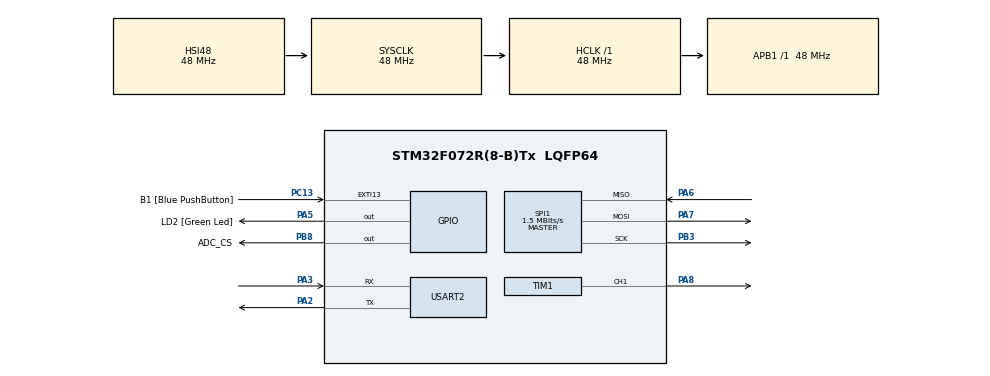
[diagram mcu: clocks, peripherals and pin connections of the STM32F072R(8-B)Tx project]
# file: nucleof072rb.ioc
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Mcu.Family=STM32F0
Mcu.Name=STM32F072R(8-B)Tx
Mcu.Package=LQFP64
PA13.GPIO_Label=TMS
PA13.Mode=Serial_Wire
PA13.Signal=SYS_SWDIO
PA14.GPIO_Label=TCK
PA14.Mode=Serial_Wire
PA14.Signal=SYS_SWCLK
PA2.GPIO_Mode=GPIO_MODE_AF_PP
PA2.GPIO_ModeDefaultPP=GPIO_MODE_AF_PP
PA2.GPIO_PuPd=GPIO_NOPULL
PA2.GPIO_Speed=GPIO_SPEED_FREQ_HIGH
PA2.Mode=Asynchronous
PA2.Signal=USART2_TX
PA3.GPIO_Mode=GPIO_MODE_AF_PP
PA3.GPIO_ModeDefaultPP=GPIO_MODE_AF_PP
PA3.GPIO_PuPd=GPIO_NOPULL
PA3.GPIO_Speed=GPIO_SPEED_FREQ_HIGH
PA3.Mode=Asynchronous
PA3.Signal=USART2_RX
PA5.GPIO_Label=LD2 [Green Led]
PA5.GPIO_Mode=GPIO_MODE_OUTPUT_PP
PA5.GPIO_PuPd=GPIO_NOPULL
PA5.GPIO_Speed=GPIO_SPEED_FREQ_LOW
PA5.Signal=GPIO_Output
PA6.Mode=Full_Duplex_Master
PA6.Signal=SPI1_MISO
PA7.Mode=Full_Duplex_Master
PA7.Signal=SPI1_MOSI
PA8.Signal=S_TIM1_CH1
PB3.Mode=Full_Duplex_Master
PB3.Signal=SPI1_SCK
PB8.GPIO_Label=ADC_CS
PB8.PinState=GPIO_PIN_SET
PB8.Signal=GPIO_Output
PC13.GPIO_Label=B1 [Blue PushButton]
PC13.GPIO_ModeDefaultEXTI=GPIO_MODE_IT_FALLING
PC13.Signal=GPXTI13
PC14-OSC32_IN.Mode=LSE-External-Oscillator
PC14-OSC32_IN.Signal=RCC_OSC32_IN
PC15-OSC32_OUT.Mode=LSE-External-Oscillator
PC15-OSC32_OUT.Signal=RCC_OSC32_OUT
PF0-OSC_IN.Mode=HSE-External-Clock-Source
PF0-OSC_IN.Signal=RCC_OSC_IN
PF1-OSC_OUT.Signal=RCC_OSC_OUT
ProjectManager.HeapSize=0x200
ProjectManager.StackSize=0x400
ProjectManager.TargetToolchain=STM32CubeIDE
RCC.AHBFreq_Value=48000000
RCC.APB1Freq_Value=48000000
RCC.APB1TimFreq_Value=48000000
RCC.FLatency-AdvancedSettings=FLASH_LATENCY_1
RCC.HCLKFreq_Value=48000000
RCC.PLLDivider=RCC_PREDIV_DIV2
RCC.PLLMUL=RCC_PLL_MUL12
RCC.PREFETCH_ENABLE-AdvancedSettings=1
RCC.SYSCLKFreq_VALUE=48000000
RCC.SYSCLKSource=RCC_SYSCLKSOURCE_HSI48
SH.S_TIM1_CH1.0=TIM1_CH1,PWM Generation1 CH1
SPI1.BaudRatePrescaler=SPI_BAUDRATEPRESCALER_32
SPI1.CalculateBaudRate=1.5 MBits/s
SPI1.DataSize=SPI_DATASIZE_8BIT
SPI1.Direction=SPI_DIRECTION_2LINES
SPI1.Mode=SPI_MODE_MASTER
SPI1.VirtualType=VM_MASTER
TIM1.Channel-PWM\ Generation1\ CH1=TIM_CHANNEL_1
TIM1.Period=63999
TIM1.Prescaler=14
USART2.VirtualMode-Asynchronous=VM_ASYNC
VP_TIM1_VS_ClockSourceINT.Mode=Internal
board=NUCLEO-F072RB

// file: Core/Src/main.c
/* USER CODE BEGIN Header */
/**
  ******************************************************************************
  * @file           : main.c
  * @brief          : Main program body
  ******************************************************************************
  * @attention
  *
  * <h2><center>&copy; Copyright (c) 2021 STMicroelectronics.
  * All rights reserved.</center></h2>
  *
  * This software component is licensed by ST under BSD 3-Clause license,
  * the "License"; You may not use this file except in compliance with the
  * License. You may obtain a copy of the License at:
  *                        opensource.org/licenses/BSD-3-Clause
  *
  ******************************************************************************
  */
/* USER CODE END Header */
#include "main.h"
#include "spi.h"
#include "tim.h"
#include "usart.h"
#include "gpio.h"

/* USER CODE BEGIN PD */
#define PWM_MIN_COUNTS      3200U // 1 ms pulse (0.3125 us per tick)
#define PWM_MAX_COUNTS      6400U // 2 ms pulse
#define ADC_MAX             1023U // largest 10-bit value
#define ADC_CHANNEL         0U    // pot wiper is on MCP3004 CH0

#define ADC_START_BIT       0x01U // byte 1: start bit (MCP3004 datasheet fig 6-1)
#define ADC_SINGLE_ENDED    0x80U // byte 2: bit 7: measure vs ground, not differential
#define ADC_CHANNEL_SHIFT   4U    // byte 2: channel select starts at bit 4 (D2..D0)
#define ADC_RESULT_MSB_MASK 0x03U // byte 2 of reply: only B9..B8 are valid
#define ADC_FRAME_BYTES     3U    // one full conversion = 3 bytes over SPI
/* USER CODE END PD */

void SystemClock_Config(void);

int main(void)
{

  /* MCU Configuration--------------------------------------------------------*/

  /* Reset of all peripherals, Initializes the Flash interface and the Systick. */
  HAL_Init();

  /* Configure the system clock */
  SystemClock_Config();

  /* Initialize all configured peripherals */
  MX_GPIO_Init();
  MX_USART2_UART_Init();
  MX_SPI1_Init();
  MX_TIM1_Init();
  /* USER CODE BEGIN 2 */

  if (HAL_TIM_PWM_Start(&htim1, TIM_CHANNEL_1) != HAL_OK)
  {
	  Error_Handler();
  }

  /* USER CODE END 2 */

  /* Infinite loop */
  while (1)
  {

	  /* USER CODE BEGIN 3 */
	  uint8_t tx[ADC_FRAME_BYTES] = {ADC_START_BIT,
			  ADC_SINGLE_ENDED | (ADC_CHANNEL << ADC_CHANNEL_SHIFT),
			  0x00};  // filler byte that just clocks out the result
	  uint8_t rx[ADC_FRAME_BYTES] = {0};

	  HAL_GPIO_WritePin(ADC_CS_GPIO_Port, ADC_CS_Pin, GPIO_PIN_RESET);
	  HAL_StatusTypeDef status = HAL_SPI_TransmitReceive(&hspi1, tx, rx, ADC_FRAME_BYTES, 10);
	  HAL_GPIO_WritePin(ADC_CS_GPIO_Port, ADC_CS_Pin, GPIO_PIN_SET);

	  if (status == HAL_OK)
	  {
		  uint16_t adc = ((rx[1] & ADC_RESULT_MSB_MASK) << 8) | rx[2];
		  uint32_t pulse = PWM_MIN_COUNTS + ((uint32_t)adc * (PWM_MAX_COUNTS - PWM_MIN_COUNTS)) / ADC_MAX;
		  __HAL_TIM_SET_COMPARE(&htim1, TIM_CHANNEL_1, pulse);
	  }

	  HAL_Delay(10);
  }
  /* USER CODE END 3 */
}

void SystemClock_Config(void)
{
  RCC_OscInitTypeDef RCC_OscInitStruct = {0};
  RCC_ClkInitTypeDef RCC_ClkInitStruct = {0};
  RCC_PeriphCLKInitTypeDef PeriphClkInit = {0};

  /** Initializes the RCC Oscillators according to the specified parameters
  * in the RCC_OscInitTypeDef structure.
  */
  RCC_OscInitStruct.OscillatorType = RCC_OSCILLATORTYPE_HSI48;
  RCC_OscInitStruct.HSI48State = RCC_HSI48_ON;
  RCC_OscInitStruct.PLL.PLLState = RCC_PLL_NONE;
  if (HAL_RCC_OscConfig(&RCC_OscInitStruct) != HAL_OK)
  {
    Error_Handler();
  }

  /** Initializes the CPU, AHB and APB buses clocks
  */
  RCC_ClkInitStruct.ClockType = RCC_CLOCKTYPE_HCLK|RCC_CLOCKTYPE_SYSCLK
                              |RCC_CLOCKTYPE_PCLK1;
  RCC_ClkInitStruct.SYSCLKSource = RCC_SYSCLKSOURCE_HSI48;
  RCC_ClkInitStruct.AHBCLKDivider = RCC_SYSCLK_DIV1;
  RCC_ClkInitStruct.APB1CLKDivider = RCC_HCLK_DIV1;

  if (HAL_RCC_ClockConfig(&RCC_ClkInitStruct, FLASH_LATENCY_1) != HAL_OK)
  {
    Error_Handler();
  }
  PeriphClkInit.PeriphClockSelection = RCC_PERIPHCLK_USART2;
  PeriphClkInit.Usart2ClockSelection = RCC_USART2CLKSOURCE_PCLK1;
  if (HAL_RCCEx_PeriphCLKConfig(&PeriphClkInit) != HAL_OK)
  {
    Error_Handler();
  }
}

void Error_Handler(void)
{
  __disable_irq();
  while (1)
  {
  }
}
